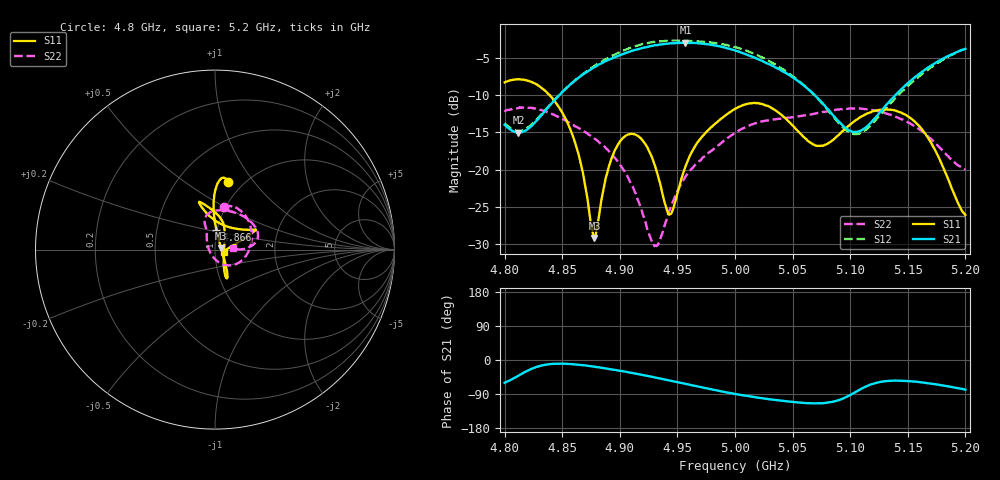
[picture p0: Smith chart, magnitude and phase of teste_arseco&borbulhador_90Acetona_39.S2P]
! Network Analyzer HP8722D
! Hewlett-Packard
! Data name: Linha & Wilkinson
! Saver's name: Rodrigo Anjos
! Comments: Teste da utilização de aquisição
! continua pelo VNA HP8722D
! Time and date: 17/4/2025 11:22
!  Frequency  S11  S21  S12  S22
# HZ  S  MA R 50
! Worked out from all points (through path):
!   401 points, 4.8 GHz to 5.2 GHz, reference 50 ohm
!   highest |S21| = -2.99 dB at 4.957 GHz (marker M1); lowest = -15.0 dB at 4.812 GHz (marker M2)
!   lowest |S11| = -29.1 dB at 4.878 GHz (marker M3), VSWR 1.07, Z = 53.5 + j0.978 ohm
!   |S11| at or under -10 dB: 4.839 GHz to end of sweep
!   |S22| runs from -30.2 to -11.6 dB; largest |S21 - S12| = 1.4
!   S11 on the Smith chart (normalised r, x): 4.8 GHz: 0.85, +0.75; 4.866 GHz: 0.99, +0.22; 5.2 GHz: 1.10, -0.03
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4.8e9  0.3843 79.4  0.2001 -60.0  0.2049 75.0  0.2442 78.1
4.812e9  0.4038 83.1  0.1772 -41.5  0.1821 92.0  0.2581 67.1
4.844e9  0.2842 91.2  0.296 -9.9  0.2975 122.9  0.2309 29.1
4.857e9  0.1869 91.6  0.3722 -10.5  0.373 124.0  0.2041 10.2
4.866e9  0.111 85.8  0.4217 -13.1  0.4265 123.2  0.1867 -3.5
4.867e9  0.1028 84.7  0.4282 -13.6  0.4317 123.0  0.1848 -5.0
4.878e9  0.03489 15.2  0.4867 -17.8  0.4952 120.8  0.1616 -21.8
4.891e9  0.108 -55.7  0.5467 -24.1  0.567 116.6  0.1318 -40.2
4.904e9  0.166 -65.4  0.599 -30.3  0.6318 111.2  0.09789 -59.1
4.92e9  0.1565 -68.5  0.6537 -39.8  0.6961 102.5  0.05022 -93.1
4.928e9  0.1208 -65.2  0.6741 -44.5  0.7144 97.7  0.03265 -132.5
4.934e9  0.08613 -55.7  0.6873 -48.4  0.7256 93.7  0.03256 -176.5
4.944e9  0.0504 1.4  0.7021 -54.7  0.7298 87.2  0.05548 140.9
4.957e9  0.1053 58.8  0.7086 -62.9  0.7298 79.0  0.0901 120.8
4.971e9  0.1652 76.0  0.7 -72.1  0.7211 70.0  0.1179 113.4
5e9  0.2557 102.6  0.6296 -89.7  0.6649 51.2  0.1769 109.1
5.029e9  0.2669 108.5  0.5114 -103.2  0.5382 35.5  0.2141 92.8
5.067e9  0.1493 80.3  0.3285 -114.1  0.3268 26.4  0.2354 58.9
5.103e9  0.2095 31.8  0.1787 -87.2  0.1734 56.7  0.2572 27.0
5.134e9  0.2527 25.7  0.286 -55.0  0.273 91.1  0.2343 11.1
5.164e9  0.1789 21.1  0.4627 -59.9  0.4459 88.0  0.1767 2.5
5.2e9  0.04982 -16.9  0.6453 -78.2  0.646 71.0  0.09986 4.7
